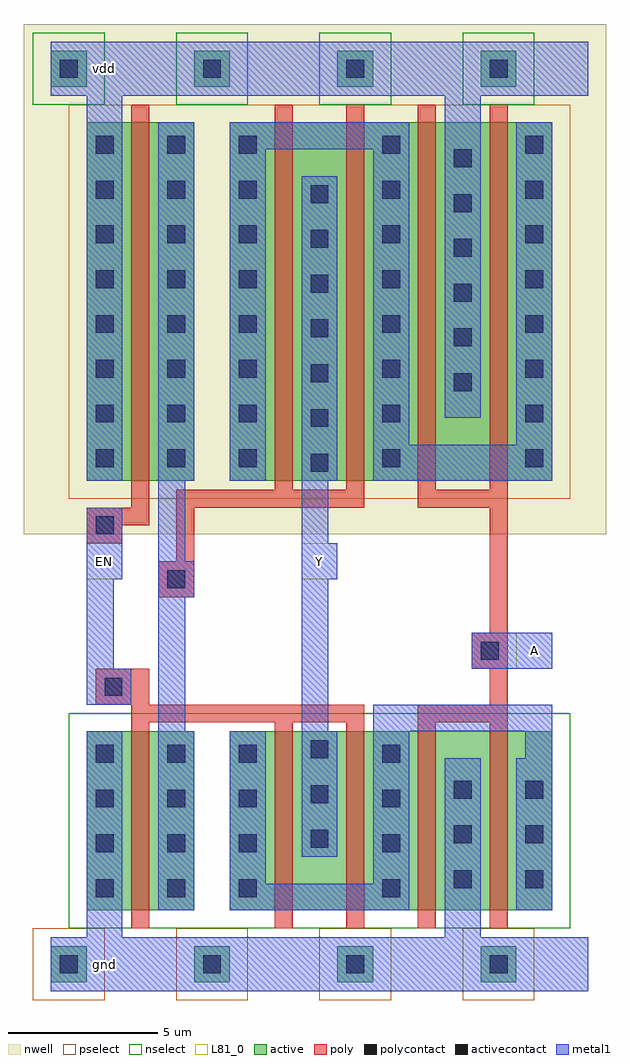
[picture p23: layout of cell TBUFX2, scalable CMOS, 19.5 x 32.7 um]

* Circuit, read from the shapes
.subckt TBUFX2 A EN Y gnd vdd
M1 n1 EN gnd gnd nfet w=6u l=0.6u
M2 Y EN n2 gnd nfet w=6u l=0.6u m=2
M3 gnd A n2 gnd nfet w=6u l=0.6u m=2
M4 n1 EN vdd vdd pfet w=12u l=0.6u
M5 Y n1 n3 vdd pfet w=12u l=0.6u m=2
M6 vdd A n3 vdd pfet w=12u l=0.6u m=2
.ends

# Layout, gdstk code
import gdstk
lib = gdstk.Library(unit=1e-6, precision=1e-09)
def R(c, l, rs):  # rectangles x0, y0, x1, y1
    for r in rs: c.add(gdstk.rectangle(r[:2], r[2:], *l))
def A(c, l, x, y, w, h, nx, ny, dx, dy):  # array of equal rectangles
    R(c, l, [(x+i*dx, y+j*dy, x+i*dx+w, y+j*dy+h) for i in range(nx) for j in range(ny)])
nwell = (42, 0)
active = (43, 0)
pselect = (44, 0)
nselect = (45, 0)
poly = (46, 0)
polycontact = (47, 0)
activecontact = (48, 0)
metal1 = (49, 0)
L81_0 = (81, 0)

tbufx2 = lib.new_cell('TBUFX2')
R(tbufx2, nwell, [(-1.5,14.4,18,31.5)])
A(tbufx2, active, -0.6, -0.6, 1.2, 1.2, 4, 2, 4.8, 30)
R(tbufx2, active, [(0.6,1.8,4.2,7.8), (5.4,1.8,16.2,7.8), (0.6,16.2,4.2,28.2), (5.4,16.2,16.2,28.2)])
A(tbufx2, pselect, -1.2, -1.2, 2.4, 2.4, 4, 1, 4.8, 0)
R(tbufx2, pselect, [(0,15.6,16.8,28.8)])
A(tbufx2, nselect, -1.2, 28.8, 2.4, 2.4, 4, 1, 4.8, 0)
R(tbufx2, nselect, [(0,1.2,16.8,8.4)])
A(tbufx2, poly, 6.9, 1.2, 0.6, 6.9, 4, 1, 2.4, 0)
A(tbufx2, poly, 6.9, 15.9, 0.6, 12.9, 4, 1, 2.4, 0)
R(tbufx2, poly, [(2.1,1.2,2.7,8.1), (2.1,8.1,9.9,8.7), (11.7,8.1,14.7,8.7), (0.9,8.7,2.7,9.9), (14.1,8.7,14.7,9.9), (13.5,9.9,14.7,11.1), (14.1,11.1,14.7,15.3), (3,12.3,4.2,13.5), (3.6,13.5,4.2,15.3), (0.6,14.1,1.8,14.7), (0.6,14.7,2.7,15.3), (2.1,15.3,2.7,28.8), (3.6,15.3,9.9,15.9), (11.7,15.3,14.7,15.9)])
R(tbufx2, polycontact, [(1.2,9,1.8,9.6), (13.8,10.2,14.4,10.8), (3.3,12.6,3.9,13.2), (0.9,14.4,1.5,15)])
A(tbufx2, activecontact, -0.3, -0.3, 0.6, 0.6, 4, 2, 4.8, 30)
A(tbufx2, activecontact, 0.9, 2.25, 0.6, 0.6, 3, 4, 2.4, 1.5)
A(tbufx2, activecontact, 10.5, 2.25, 0.6, 0.6, 1, 4, 0, 1.5)
A(tbufx2, activecontact, 12.9, 2.55, 0.6, 0.6, 1, 3, 0, 1.5)
A(tbufx2, activecontact, 15.3, 2.55, 0.6, 0.6, 1, 3, 0, 1.5)
A(tbufx2, activecontact, 8.1, 3.9, 0.6, 0.6, 1, 3, 0, 1.5)
A(tbufx2, activecontact, 8.1, 16.5, 0.6, 0.6, 1, 7, 0, 1.5)
A(tbufx2, activecontact, 0.9, 16.65, 0.6, 0.6, 3, 8, 2.4, 1.5)
A(tbufx2, activecontact, 10.5, 16.65, 0.6, 0.6, 1, 8, 0, 1.5)
A(tbufx2, activecontact, 15.3, 16.65, 0.6, 0.6, 1, 8, 0, 1.5)
A(tbufx2, activecontact, 12.9, 19.2, 0.6, 0.6, 1, 6, 0, 1.5)
R(tbufx2, metal1, [(-0.6,-0.9,17.4,0.9), (0.6,0.9,1.8,7.8), (12.6,0.9,13.8,6.9), (3,1.8,4.2,7.8), (5.4,1.8,11.4,2.7), (15,1.8,16.2,6.9), (5.4,2.7,6.6,7.8), (10.2,2.7,11.4,7.8), (7.8,3.6,9,7.8), (15.3,6.9,16.2,7.8), (3,7.8,3.9,12.3), (7.8,7.8,8.7,12.9), (10.2,7.8,16.2,8.7), (0.6,8.7,2.1,9.9), (0.6,9.9,1.5,12.9), (13.5,9.9,16.2,11.1), (3,12.3,4.2,13.5), (0.6,12.9,1.8,15.3), (7.8,12.9,9,14.1), (3,13.5,3.9,16.2), (7.8,14.1,8.7,16.2), (0.6,16.2,1.8,29.1), (3,16.2,4.2,28.2), (5.4,16.2,6.6,27.3), (7.8,16.2,9,26.4), (10.2,16.2,16.2,17.4), (10.2,17.4,11.4,27.3), (15,17.4,16.2,28.2), (12.6,18.3,13.8,29.1), (5.4,27.3,11.4,28.2), (-0.6,29.1,17.4,30.9)])
R(tbufx2, L81_0, [(15,9.9,16.2,11.1), (0.6,12.9,1.8,14.1), (7.8,12.9,9,14.1)])
tbufx2.add(gdstk.Label('vdd', (1.2,30), layer=109, texttype=0))
tbufx2.add(gdstk.Label('gnd', (1.2,0), layer=109, texttype=0))
tbufx2.add(gdstk.Label('A', (15.6,10.5), layer=109, texttype=0))
tbufx2.add(gdstk.Label('EN', (1.2,13.5), layer=109, texttype=0))
tbufx2.add(gdstk.Label('Y', (8.4,13.5), layer=109, texttype=0))

lib.write_gds('TBUFX2.gds')
